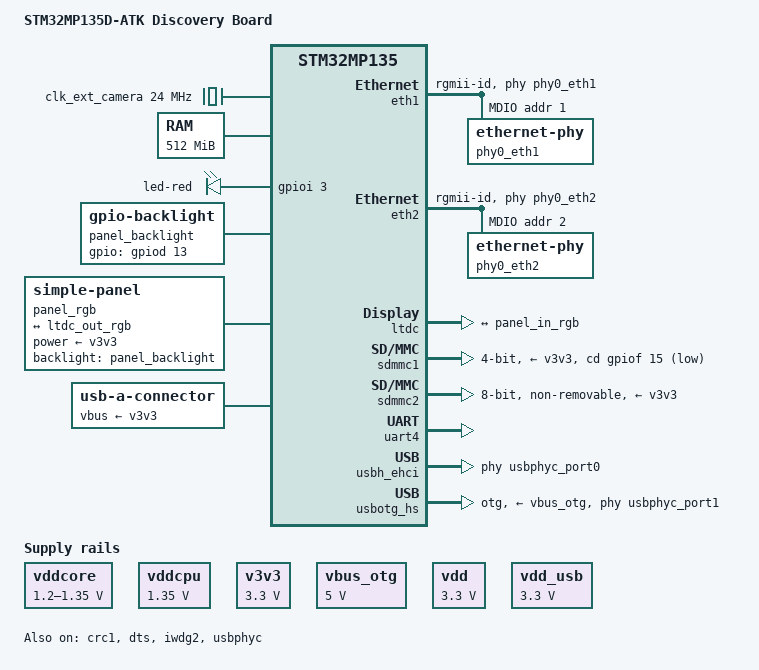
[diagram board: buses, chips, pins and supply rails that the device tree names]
// SPDX-License-Identifier: (GPL-2.0+ OR BSD-3-Clause)
/*
 * Copyright (C) STMicroelectronics 2022 - All Rights Reserved
 * Author: Alexandre Torgue <alexandre.torgue@foss.st.com> for STMicroelectronics.
 */

/dts-v1/;

#include <dt-bindings/gpio/gpio.h>
#include <dt-bindings/input/input.h>
#include <dt-bindings/leds/common.h>
#include <dt-bindings/rtc/rtc-stm32.h>
#include "stm32mp135.dtsi"
#include "stm32mp13xd.dtsi"
#include "stm32mp13-pinctrl-atk.dtsi"

/ {
	model = "STM32MP135D-ATK Discovery Board";
	compatible = "st,stm32mp135d-atk", "st,stm32mp135";

	aliases {
		ethernet0 = &eth1;
		ethernet1 = &eth2;
		serial0 = &uart4;
	};

	chosen {
		#address-cells = <1>;
		#size-cells = <1>;
		ranges;
		stdout-path = "serial0:115200n8";

		framebuffer {
			compatible = "simple-framebuffer";
			clocks = <&rcc LTDC_PX>;
			status = "disabled";
		};
	};

	clocks {
		clk_ext_camera: clk-ext-camera {
			#clock-cells = <0>;
			compatible = "fixed-clock";
			clock-frequency = <24000000>;
		};

		clk_mco1: clk-mco1 {
			#clock-cells = <0>;
			compatible = "fixed-clock";
			clock-frequency = <24000000>;
		};
	};

	memory@c0000000 {
		device_type = "memory";
		reg = <0xc0000000 0x20000000>;
	};

	leds {
		compatible = "gpio-leds";

		led-red {
			gpios = <&gpioi 3 GPIO_ACTIVE_HIGH>;
			linux,default-trigger = "heartbeat";
			default-state = "off";
		};
	};

	reserved-memory {
		#address-cells = <1>;
		#size-cells = <1>;
		ranges;

		optee_framebuffer@dd000000 {
			reg = <0xdd000000 0x1000000>;
			no-map;
		};

		optee@de000000 {
			reg = <0xde000000 0x2000000>;
			no-map;
		};
	};

	vddcore: vddcore {
        compatible = "regulator-fixed";
        regulator-name = "vddcore";
        regulator-min-microvolt = <1200000>;
        regulator-max-microvolt = <1350000>;
        regulator-off-in-suspend;
        regulator-always-on;
	};

	vddcpu: vddcpu {
		compatible = "regulator-fixed";
		regulator-name = "vddcpu";
		regulator-min-microvolt = <1350000>;
		regulator-max-microvolt = <1350000>;
        regulator-off-in-suspend;
        regulator-always-on;
	};

	v3v3: v3v3 {
        compatible = "regulator-fixed";
        regulator-name = "v3v3";
        regulator-min-microvolt = <3300000>;
        regulator-max-microvolt = <3300000>;
        regulator-off-in-suspend;
        regulator-always-on;
    };

	vbus_otg: vbus_otg {
        compatible = "regulator-fixed";
        regulator-name = "vbus_otg";
        regulator-min-microvolt = <5000000>;
        regulator-max-microvolt = <5000000>;
        regulator-off-in-suspend;
		regulator-always-on;
    };

	vdd: vdd {
        compatible = "regulator-fixed";
        regulator-name = "vdd";
        regulator-min-microvolt = <3300000>;
        regulator-max-microvolt = <3300000>;
        regulator-off-in-suspend;
        regulator-always-on;
    };

	vdd_usb: vdd_usb {
        compatible = "regulator-fixed";
        regulator-name = "vdd_usb";
        regulator-min-microvolt = <3300000>;
        regulator-max-microvolt = <3300000>;
        regulator-off-in-suspend;
        regulator-always-on;
    };

	panel_backlight: panel-backlight {
		compatible = "gpio-backlight";
		gpios = <&gpiod 13 GPIO_ACTIVE_HIGH>;
		default-on;
		status = "okay";
	};

    atk_pinctrl_lcd {
        gpior = <&gpioe 9 GPIO_ACTIVE_LOW>;
        gpiog = <&gpioa 15 GPIO_ACTIVE_LOW>;
        gpiob = <&gpioe 15 GPIO_ACTIVE_LOW>;
    };

	panel_rgb: panel-rgb {
		compatible = "simple-panel";
		backlight = <&panel_backlight>;
		power-supply = <&v3v3>;
		status = "okay";

		port {
			panel_in_rgb: endpoint {
				remote-endpoint = <&ltdc_out_rgb>;
			};
		};
	};
};

&pinctrl {
   gpio_r:gpio_r {
        pins {
            pinmux = <STM32_PINMUX('E', 9, GPIO)>; /* PE9.GPIO */
            bias-pull-up;
            drive-push-pull;
        };
    };

   gpio_g:gpio_g {
        pins {
            pinmux = <STM32_PINMUX('A', 15, GPIO)>; /* PA15.GPIO */
            bias-pull-up;
            drive-push-pull;
        };
    };

   gpio_b:gpio_b {
        pins {
            pinmux = <STM32_PINMUX('E', 15, GPIO)>; /* PE15.GPIO */
            bias-pull-up;
            drive-push-pull;
        };
    };
};

&crc1 {
	status = "okay";
};

&dma1 {
	sram = <&dma_pool>;
};

&dma2 {
	sram = <&dma_pool>;
};

&dts {
	status = "okay";
};

&eth1 {
	status = "okay";
	pinctrl-0 = <&eth1_rgmii_pins_a>;
	pinctrl-1 = <&eth1_rgmii_sleep_pins_a>;
	pinctrl-names = "default", "sleep";
	phy-mode = "rgmii-id";
	max-speed = <1000>;
	phy-handle = <&phy0_eth1>;
	nvmem-cells = <&ethernet_mac1_address>;
	nvmem-cell-names = "mac-address";

	mdio1 {
		#address-cells = <1>;
		#size-cells = <0>;
		compatible = "snps,dwmac-mdio";
		phy0_eth1: ethernet-phy@1 {
			reg = <1>;
		};
	};
};

&eth2 {
	status = "okay";
	pinctrl-0 = <&eth2_rgmii_pins_a>;
	pinctrl-1 = <&eth2_rgmii_sleep_pins_a>;
	pinctrl-names = "default", "sleep";
	phy-mode = "rgmii-id";
	max-speed = <1000>;
	phy-handle = <&phy0_eth2>;
	nvmem-cells = <&ethernet_mac2_address>;
	nvmem-cell-names = "mac-address";

	mdio1 {
		#address-cells = <1>;
		#size-cells = <0>;
		compatible = "snps,dwmac-mdio";
		phy0_eth2: ethernet-phy@2 {
			reg = <2>;
		};
	};
};

&iwdg2 {
	timeout-sec = <32>;
	pinctrl-names = "default";
    pinctrl-0 = <&gpio_r>,<&gpio_g>, <&gpio_b>;
	status = "okay";
};

&ltdc {
	pinctrl-names = "default", "sleep";
	pinctrl-0 = <&ltdc_pins_a>;
	pinctrl-1 = <&ltdc_sleep_pins_a>;
	status = "okay";

	port {
		#address-cells = <1>;
		#size-cells = <0>;

		ltdc_out_rgb: endpoint@0 {
			reg = <0>;
			remote-endpoint = <&panel_in_rgb>;
		};
	};
};

&sdmmc1 {
	pinctrl-names = "default", "opendrain", "sleep";
	pinctrl-0 = <&sdmmc1_b4_pins_a &sdmmc1_clk_pins_a>;
	pinctrl-1 = <&sdmmc1_b4_od_pins_a &sdmmc1_clk_pins_a>;
	pinctrl-2 = <&sdmmc1_b4_sleep_pins_a>;
	cd-gpios = <&gpiof 15 (GPIO_ACTIVE_LOW | GPIO_PULL_UP)>;
	disable-wp;
	st,neg-edge;
	no-1-8-v;
	bus-width = <4>;
	vmmc-supply = <&v3v3>;
	status = "okay";
};

/* EMMC */
&sdmmc2 {
	pinctrl-names = "default", "opendrain", "sleep";
	pinctrl-0 = <&sdmmc2_b4_pins_a &sdmmc2_b4_b7_pins_a &sdmmc2_clk_pins_a>;
	pinctrl-1 = <&sdmmc2_b4_od_pins_a &sdmmc2_b4_b7_od_pins_a &sdmmc2_clk_pins_a>;
	pinctrl-2 = <&sdmmc2_b4_sleep_pins_a &sdmmc2_b4_b7_sleep_pins_a>;
	non-removable;
	st,neg-edge;
	mmc-ddr-3_3v;
 	no-1-8-v;
	bus-width = <8>;
	vmmc-supply = <&v3v3>;
	#address-cells = <1>;
	#size-cells = <0>;
	status = "okay";
};

&sram {
	dma_pool: dma-sram@0 {
		reg = <0x0 0x4000>;
		pool;
	};
};

&uart4 {
	pinctrl-names = "default";
	pinctrl-0 = <&uart4_pins_a>;
	/delete-property/dmas;
	/delete-property/dma-names;
	status = "okay";
};

&usbh_ehci {
	phys = <&usbphyc_port0>;
	status = "okay";
};

&usbotg_hs {
	phys = <&usbphyc_port1 0>;
	phy-names = "usb2-phy";
	dr_mode = "otg";
	pinctrl-0 = <&usbotg_hs_pins_a>;
	pinctrl-names = "default";
	vbus-supply = <&vbus_otg>;
	status = "okay";
};

&usbphyc {
	status = "okay";
};

&usbphyc_port0 {
	phy-supply = <&vdd_usb>;
	st,current-boost-microamp = <1000>;
	st,decrease-hs-slew-rate;
	st,tune-hs-dc-level = <2>;
	st,enable-hs-rftime-reduction;
	st,trim-hs-current = <11>;
	st,trim-hs-impedance = <2>;
	st,tune-squelch-level = <1>;
	st,enable-hs-rx-gain-eq;
	st,no-hs-ftime-ctrl;
	st,no-lsfs-sc;

	/*
	 * Hack to keep hub active if wakeup source is enabled
	 * otherwise the hub will wakeup the port0 as soon as the v3v3_sw is disabled
	 */
	connector {
		compatible = "usb-a-connector";
		vbus-supply = <&v3v3>;
	};
};

&usbphyc_port1 {
	phy-supply = <&vdd_usb>;
	st,current-boost-microamp = <1000>;
	st,decrease-hs-slew-rate;
	st,tune-hs-dc-level = <2>;
	st,enable-hs-rftime-reduction;
	st,trim-hs-current = <11>;
	st,trim-hs-impedance = <2>;
	st,tune-squelch-level = <1>;
	st,enable-hs-rx-gain-eq;
	st,no-hs-ftime-ctrl;
	st,no-lsfs-sc;
};
